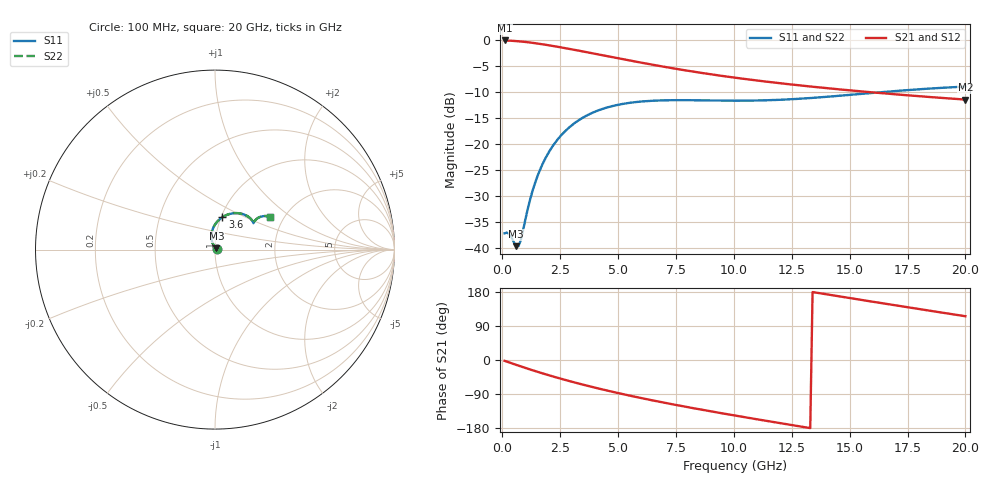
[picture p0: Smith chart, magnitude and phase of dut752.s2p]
! Touchstone file exported from HFSS 2024.1.0
!  File:  C:/UserFiles/LocalFiles/RDL_TSV_Batchsim/temp_RDL_TSV_752_1779897936.aedt
!  Generated:  12:22:55 AM May 28, 2026
!  Design:  RDL_TSV
!  Project:  temp_RDL_TSV_752_1779897936
!  Setup:  Setup1
!  Solution:  Sweep
! Variables:
!  dtsv = 8.54um
!  hbump = 3um
!  htsv = 93.34um
!  ldown = 266.58um
!  lrdl = 658.16um
!  p = 40
!  p1 = 59.6um
!  rhole = 10um
!  subl = 3432.38um
!  t = 450um
!  tdown = 3.15um
!  trdl = 3.86um
!  viad = 10um
!  wdown = 27.37um
!  wrdl = 26.55um
!  xbump = 18um
# GHz S MA R 50.000000
! Terminal data exported
! Port[1] = TM1_1_T1
! Port[2] = TM1_4_T1
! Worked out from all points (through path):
!   200 points, 100 MHz to 20 GHz, reference 50 ohm
!   highest |S21| = -0.12 dB at 100 MHz (marker M1); lowest = -11.5 dB at 20 GHz (marker M2)
!   group delay of S21, straight-line fit = 31.9 ps
!   lowest |S11| = -39.7 dB at 600 MHz (marker M3), VSWR 1.02, Z = 50.8 + j0.707 ohm
!   |S11| at or under -10 dB: start of sweep to 16.58 GHz
!   |S22| runs from -39.7 to -9.0 dB; largest |S21 - S12| = 2.8e-14
!   S11 on the Smith chart (normalised r, x): 100 MHz: 1.03, +0.00; 3.6 GHz: 1.01, +0.38; 20 GHz: 1.69, +0.71
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0.1  0.01374 6.7  0.9858 -2.2  0.9858 -2.2  0.01374 6.8
! Gamma 0 0 0 0
! Port Impedance 50 0 50 0
0.3  0.01351 14.2  0.9816 -6.5  0.9816 -6.5  0.01351 14.2
0.6  0.01034 42.3  0.9721 -12.8  0.9721 -12.8  0.01033 42.4
0.7  0.01035 60.9  0.9681 -14.9  0.9681 -14.9  0.01035 61.0
0.8  0.01184 79.2  0.9636 -16.9  0.9636 -16.9  0.01184 79.4
1.1  0.02361 106.5  0.9478 -23.0  0.9478 -23.0  0.02365 106.5
1.3  0.03482 110.4  0.9356 -26.9  0.9356 -26.9  0.03487 110.5
1.6  0.05413 109.6  0.9155 -32.7  0.9155 -32.7  0.05421 109.6
1.9  0.07504 105.8  0.8939 -38.3  0.8939 -38.3  0.07515 105.8
2.2  0.09646 100.9  0.8714 -43.7  0.8714 -43.7  0.0966 100.9
2.6  0.1244 93.9  0.8407 -50.6  0.8407 -50.6  0.1246 93.9
3.5  0.1793 78.8  0.7716 -65.3  0.7716 -65.3  0.1796 78.9
3.6  0.1845 77.3  0.764 -66.8  0.764 -66.8  0.1848 77.3
4.3  0.2153 67.4  0.7127 -77.4  0.7127 -77.4  0.2157 67.4
5.2  0.2416 56.9  0.6516 -90.0  0.6516 -90.0  0.2421 56.9
6.8  0.2609 43.9  0.5595 -110.4  0.5595 -110.4  0.2615 43.9
8.3  0.2621 37.3  0.4921 -127.7  0.4921 -127.7  0.2626 37.3
10.1  0.2596 34.6  0.4306 -147.1  0.4306 -147.1  0.2601 34.6
11.7  0.2632 35.0  0.3888 -163.6  0.3888 -163.6  0.2636 35.0
13.4  0.2762 36.1  0.3536 179.3  0.3536 179.3  0.2765 36.1
16.7  0.3178 35.4  0.3025 147.0  0.3025 147.0  0.3181 35.5
20  0.3546 31.0  0.266 115.5  0.266 115.5  0.3551 31.1
